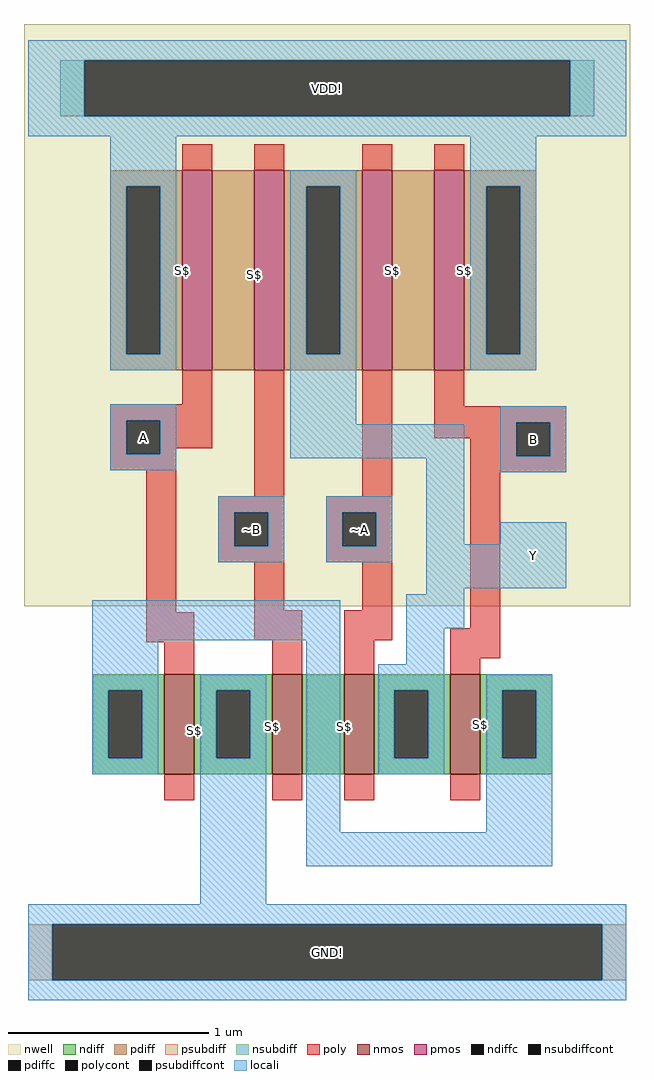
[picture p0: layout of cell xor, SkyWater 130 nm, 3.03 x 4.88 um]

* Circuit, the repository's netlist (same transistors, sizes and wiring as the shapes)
** sch_path: /home/tydav/magic/library/xschem/xor.sch
**.subckt xor B Y A ~A ~B
*.opin Y
*.ipin A
*.ipin ~B
*.ipin B
*.ipin ~A
XM1 Y ~A net1 GND sky130_fd_pr__nfet_01v8 L=0.15 W=0.5 nf=1 ad='int((nf+1)/2) * W/nf * 0.29' as='int((nf+2)/2) * W/nf * 0.29' pd='2*int((nf+1)/2) * (W/nf + 0.29)'
+ ps='2*int((nf+2)/2) * (W/nf + 0.29)' nrd='0.29 / W' nrs='0.29 / W' sa=0 sb=0 sd=0 mult=1 m=1
XM2 net4 B VDD VDD sky130_fd_pr__pfet_01v8 L=0.15 W=1 nf=1 ad='int((nf+1)/2) * W/nf * 0.29' as='int((nf+2)/2) * W/nf * 0.29' pd='2*int((nf+1)/2) * (W/nf + 0.29)'
+ ps='2*int((nf+2)/2) * (W/nf + 0.29)' nrd='0.29 / W' nrs='0.29 / W' sa=0 sb=0 sd=0 mult=1 m=1
XM3 net3 A VDD VDD sky130_fd_pr__pfet_01v8 L=0.15 W=1 nf=1 ad='int((nf+1)/2) * W/nf * 0.29' as='int((nf+2)/2) * W/nf * 0.29' pd='2*int((nf+1)/2) * (W/nf + 0.29)'
+ ps='2*int((nf+2)/2) * (W/nf + 0.29)' nrd='0.29 / W' nrs='0.29 / W' sa=0 sb=0 sd=0 mult=1 m=1
XM4 Y B net2 GND sky130_fd_pr__nfet_01v8 L=0.15 W=0.5 nf=1 ad='int((nf+1)/2) * W/nf * 0.29' as='int((nf+2)/2) * W/nf * 0.29' pd='2*int((nf+1)/2) * (W/nf + 0.29)'
+ ps='2*int((nf+2)/2) * (W/nf + 0.29)' nrd='0.29 / W' nrs='0.29 / W' sa=0 sb=0 sd=0 mult=1 m=1
XM5 net1 ~B GND GND sky130_fd_pr__nfet_01v8 L=0.15 W=0.5 nf=1 ad='int((nf+1)/2) * W/nf * 0.29' as='int((nf+2)/2) * W/nf * 0.29' pd='2*int((nf+1)/2) * (W/nf + 0.29)'
+ ps='2*int((nf+2)/2) * (W/nf + 0.29)' nrd='0.29 / W' nrs='0.29 / W' sa=0 sb=0 sd=0 mult=1 m=1
XM6 net2 A GND GND sky130_fd_pr__nfet_01v8 L=0.15 W=0.5 nf=1 ad='int((nf+1)/2) * W/nf * 0.29' as='int((nf+2)/2) * W/nf * 0.29' pd='2*int((nf+1)/2) * (W/nf + 0.29)'
+ ps='2*int((nf+2)/2) * (W/nf + 0.29)' nrd='0.29 / W' nrs='0.29 / W' sa=0 sb=0 sd=0 mult=1 m=1
XM7 Y ~A net4 VDD sky130_fd_pr__pfet_01v8 L=0.15 W=1 nf=1 ad='int((nf+1)/2) * W/nf * 0.29' as='int((nf+2)/2) * W/nf * 0.29' pd='2*int((nf+1)/2) * (W/nf + 0.29)'
+ ps='2*int((nf+2)/2) * (W/nf + 0.29)' nrd='0.29 / W' nrs='0.29 / W' sa=0 sb=0 sd=0 mult=1 m=1
XM8 Y ~B net3 VDD sky130_fd_pr__pfet_01v8 L=0.15 W=1 nf=1 ad='int((nf+1)/2) * W/nf * 0.29' as='int((nf+2)/2) * W/nf * 0.29' pd='2*int((nf+1)/2) * (W/nf + 0.29)'
+ ps='2*int((nf+2)/2) * (W/nf + 0.29)' nrd='0.29 / W' nrs='0.29 / W' sa=0 sb=0 sd=0 mult=1 m=1
**.ends
.GLOBAL VDD
.GLOBAL GND
.end

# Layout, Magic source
magic
tech sky130A
<< nwell >>
rect 11 197 314 488
<< nmos >>
rect 81 113 96 163
rect 135 113 150 163
rect 171 113 186 163
rect 224 113 239 163
<< pmos >>
rect 90 315 105 415
rect 126 315 141 415
rect 180 315 195 415
rect 216 315 231 415
<< ndiff >>
rect 45 155 81 163
rect 45 121 53 155
rect 70 121 81 155
rect 45 113 81 121
rect 96 155 135 163
rect 96 121 107 155
rect 124 121 135 155
rect 96 113 135 121
rect 150 113 171 163
rect 186 155 224 163
rect 186 121 196 155
rect 213 121 224 155
rect 186 113 224 121
rect 239 155 275 163
rect 239 121 250 155
rect 267 121 275 155
rect 239 113 275 121
<< pdiff >>
rect 54 407 90 415
rect 54 323 62 407
rect 79 323 90 407
rect 54 315 90 323
rect 105 315 126 415
rect 141 407 180 415
rect 141 323 152 407
rect 169 323 180 407
rect 141 315 180 323
rect 195 315 216 415
rect 231 407 267 415
rect 231 323 242 407
rect 259 323 267 407
rect 231 315 267 323
<< ndiffc >>
rect 53 121 70 155
rect 107 121 124 155
rect 196 121 213 155
rect 250 121 267 155
<< pdiffc >>
rect 62 323 79 407
rect 152 323 169 407
rect 242 323 259 407
<< psubdiff >>
rect 13 10 25 38
rect 300 10 312 38
<< nsubdiff >>
rect 29 442 41 470
rect 284 442 296 470
<< psubdiffcont >>
rect 25 10 300 38
<< nsubdiffcont >>
rect 41 442 284 470
<< poly >>
rect 90 415 105 428
rect 126 415 141 428
rect 180 415 195 428
rect 216 415 231 428
rect 90 298 105 315
rect 54 290 105 298
rect 54 273 62 290
rect 79 276 105 290
rect 79 273 87 276
rect 54 265 87 273
rect 72 194 87 265
rect 126 252 141 315
rect 180 252 195 315
rect 216 297 231 315
rect 216 289 282 297
rect 216 281 257 289
rect 108 244 141 252
rect 108 227 116 244
rect 133 227 141 244
rect 108 219 141 227
rect 162 244 195 252
rect 162 227 170 244
rect 187 227 195 244
rect 162 219 195 227
rect 126 195 141 219
rect 180 195 195 219
rect 72 179 96 194
rect 126 180 150 195
rect 81 163 96 179
rect 135 163 150 180
rect 171 180 195 195
rect 234 272 257 281
rect 274 272 282 289
rect 234 264 282 272
rect 234 186 249 264
rect 171 163 186 180
rect 224 171 249 186
rect 224 163 239 171
rect 81 100 96 113
rect 135 100 150 113
rect 171 100 186 113
rect 224 100 239 113
<< polycont >>
rect 62 273 79 290
rect 116 227 133 244
rect 170 227 187 244
rect 257 272 274 289
<< locali >>
rect 13 470 312 480
rect 13 442 41 470
rect 284 442 312 470
rect 13 432 312 442
rect 54 407 87 432
rect 54 323 62 407
rect 79 323 87 407
rect 54 315 87 323
rect 144 407 177 415
rect 144 323 152 407
rect 169 323 177 407
rect 54 290 87 298
rect 54 273 62 290
rect 79 273 87 290
rect 54 265 87 273
rect 144 288 177 323
rect 234 407 267 432
rect 234 323 242 407
rect 259 323 267 407
rect 234 315 267 323
rect 249 289 282 297
rect 144 271 231 288
rect 108 244 141 252
rect 108 227 116 244
rect 133 227 141 244
rect 108 219 141 227
rect 162 244 195 252
rect 162 227 170 244
rect 187 227 195 244
rect 162 219 195 227
rect 212 228 231 271
rect 249 272 257 289
rect 274 272 282 289
rect 249 264 282 272
rect 249 228 282 239
rect 212 206 282 228
rect 212 203 231 206
rect 45 180 169 200
rect 45 155 78 180
rect 45 121 53 155
rect 70 121 78 155
rect 45 113 78 121
rect 99 155 132 163
rect 99 121 107 155
rect 124 121 132 155
rect 99 48 132 121
rect 152 84 169 180
rect 202 186 231 203
rect 202 168 221 186
rect 188 155 221 168
rect 188 121 196 155
rect 213 121 221 155
rect 188 113 221 121
rect 242 155 275 163
rect 242 121 250 155
rect 267 121 275 155
rect 242 84 275 121
rect 152 67 275 84
rect 13 38 312 48
rect 13 10 25 38
rect 300 10 312 38
rect 13 0 312 10
<< labels >>
flabel pdiff 195 365 195 365 1 FreeSerif 8 0 0 0 S$
flabel pdiff 126 363 126 363 1 FreeSerif 8 0 0 0 S$
flabel pdiff 231 365 231 365 1 FreeSerif 8 0 0 0 S$
flabel pdiff 90 365 90 365 1 FreeSerif 8 0 0 0 S$
flabel locali 249 264 282 297 0 FreeSerif 80 0 0 0 B
port 14 nsew
flabel ndiff 135 137 135 137 1 FreeSerif 8 0 0 0 S$
flabel ndiff 171 137 171 137 1 FreeSerif 8 0 0 0 S$
flabel ndiff 96 135 96 135 1 FreeSerif 8 0 0 0 S$
flabel ndiff 239 138 239 138 1 FreeSerif 8 0 0 0 S$
flabel locali 162 219 195 252 0 FreeSerif 80 0 0 0 ~A
port 13 nsew
flabel locali 54 265 87 298 0 FreeSerif 80 0 0 0 A
port 11 nsew
flabel locali 108 219 141 252 0 FreeSerif 80 0 0 0 ~B
port 12 nsew
flabel locali 249 206 282 239 0 FreeSerif 80 0 0 0 Y
port 4 nsew
flabel locali 13 432 312 480 0 FreeSerif 80 0 0 0 VDD!
port 2 nsew
flabel locali 13 0 312 48 0 FreeSerif 80 0 0 0 GND!
port 3 nsew
<< end >>
